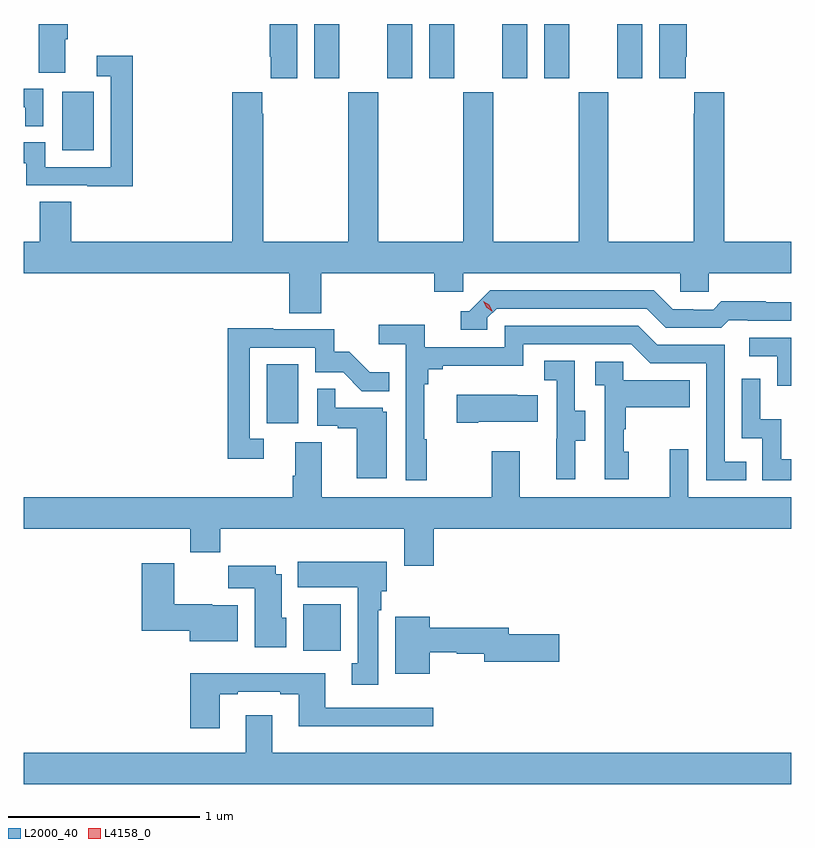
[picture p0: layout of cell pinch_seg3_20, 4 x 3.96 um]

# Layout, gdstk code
import gdstk
lib = gdstk.Library(unit=1e-6, precision=1e-09)
def R(c, l, rs):  # rectangles x0, y0, x1, y1
    for r in rs: c.add(gdstk.rectangle(r[:2], r[2:], *l))
def P(c, l, *ps):  # polygons
    for p in ps: c.add(gdstk.Polygon(p, *l))
L2000_40 = (2000, 40)
L4158_0 = (4158, 0)

pinch_seg3_20 = lib.new_cell('pinch_seg3_20')
R(pinch_seg3_20, L2000_40, [(1117.889,738.908,1118.086,739.15), (1117.7,740.094,1117.864,740.401), (1116.632,741.516,1116.796,741.823), (1117.946,741.891,1118.077,742.175), (1118.327,741.891,1118.458,742.175), (1118.546,741.891,1118.677,742.175), (1118.927,741.891,1119.058,742.175), (1119.146,741.891,1119.277,742.175), (1119.527,741.891,1119.658,742.175)])
P(pinch_seg3_20, L2000_40, [(1116.649,742.096),(1116.662,742.096),(1116.662,742.175),(1116.509,742.175),(1116.509,741.922),(1116.649,741.922)],
  [(1117.858,742.175),(1117.715,742.175),(1117.715,742.003),(1117.721,742.003),(1117.721,741.891),(1117.858,741.891)],
  [(1119.883,742.003),(1119.89,742.003),(1119.89,742.175),(1119.746,742.175),(1119.746,741.891),(1119.883,741.891)],
  [(1117.001,742.009),(1116.813,742.009),(1116.813,741.903),(1116.885,741.903),(1116.885,741.429),(1116.543,741.429),(1116.543,741.558),(1116.433,741.558),(1116.433,741.45),(1116.445,741.45),(1116.445,741.333),(1116.763,741.333),(1116.763,741.328),(1117.001,741.328)],
  [(1116.534,741.837),(1116.433,741.837),(1116.433,741.741),(1116.439,741.741),(1116.439,741.643),(1116.534,741.643)],
  [(1118.573,740.778),(1118.724,740.778),(1118.724,740.876),(1119.855,740.876),(1119.855,740.778),(1120.005,740.778),(1120.005,740.876),(1120.433,740.876),(1120.433,741.04),(1120.085,741.04),(1120.085,741.82),(1119.929,741.82),(1119.929,741.707),(1119.925,741.707),(1119.925,741.04),(1119.48,741.04),(1119.48,741.82),(1119.325,741.82),(1119.325,741.04),(1118.88,741.04),(1118.88,741.82),(1118.725,741.82),(1118.725,741.04),(1118.28,741.04),(1118.28,741.82),(1118.125,741.82),(1118.125,741.04),(1117.68,741.04),(1117.68,741.707),(1117.675,741.707),(1117.675,741.82),(1117.52,741.82),(1117.52,741.04),(1116.68,741.04),(1116.68,741.248),(1116.515,741.248),(1116.515,741.04),(1116.433,741.04),(1116.433,740.876),(1117.817,740.876),(1117.817,740.668),(1117.982,740.668),(1117.982,740.876),(1118.573,740.876)],
  [(1118.85,740.643),(1118.898,740.691),(1119.681,740.691),(1119.78,740.592),(1120.069,740.592),(1120.108,740.631),(1120.207,740.631),(1120.207,740.628),(1120.433,740.628),(1120.433,740.725),(1120.302,740.725),(1120.302,740.728),(1120.069,740.728),(1120.027,740.685),(1119.924,740.685),(1119.924,740.688),(1119.817,740.688),(1119.718,740.787),(1118.865,740.787),(1118.754,740.676),(1118.711,740.676),(1118.711,740.58),(1118.85,740.58)],
  [(1118.533,740.009),(1118.521,740.009),(1118.521,740.297),(1118.54,740.297),(1118.54,740.374),(1118.617,740.374),(1118.617,740.393),(1119.036,740.393),(1119.036,740.505),(1119.6,740.505),(1119.699,740.406),(1119.99,740.406),(1119.99,739.797),(1120.199,739.797),(1120.199,739.893),(1120.086,739.893),(1120.086,740.502),(1119.736,740.502),(1119.637,740.601),(1118.94,740.601),(1118.94,740.49),(1118.522,740.49),(1118.522,740.606),(1118.283,740.606),(1118.283,740.504),(1118.424,740.504),(1118.424,739.797),(1118.533,739.797)],
  [(1117.684,740.013),(1117.611,740.013),(1117.611,740.487),(1117.953,740.487),(1117.953,740.358),(1118.097,740.358),(1118.195,740.26),(1118.339,740.26),(1118.339,740.359),(1118.235,740.359),(1118.128,740.466),(1118.052,740.466),(1118.052,740.583),(1117.733,740.583),(1117.733,740.588),(1117.495,740.588),(1117.495,739.908),(1117.684,739.908)],
  [(1120.433,740.538),(1120.215,740.538),(1120.215,740.442),(1120.362,740.442),(1120.362,740.289),(1120.433,740.289)],
  [(1119.307,740.002),(1119.361,740.002),(1119.361,740.157),(1119.306,740.157),(1119.306,740.42),(1119.147,740.42),(1119.147,740.317),(1119.21,740.317),(1119.21,740.013),(1119.209,740.013),(1119.209,739.8),(1119.307,739.8)],
  [(1119.586,739.944),(1119.561,739.944),(1119.561,740.063),(1119.571,740.063),(1119.571,740.177),(1119.905,740.177),(1119.905,740.317),(1119.558,740.317),(1119.558,740.415),(1119.411,740.415),(1119.411,740.291),(1119.462,740.291),(1119.462,739.8),(1119.586,739.8)],
  [(1120.433,739.906),(1120.382,739.906),(1120.382,740.114),(1120.272,740.114),(1120.272,740.326),(1120.176,740.326),(1120.176,740.016),(1120.284,740.016),(1120.284,739.797),(1120.433,739.797)],
  [(1118.326,740.154),(1118.304,740.154),(1118.304,740.175),(1118.057,740.175),(1118.057,740.273),(1117.962,740.273),(1117.962,740.079),(1118.069,740.079),(1118.069,740.067),(1118.168,740.067),(1118.168,739.806),(1118.326,739.806)],
  [(1118.803,740.102),(1119.113,740.102),(1119.113,740.239),(1119.005,740.239),(1119.005,740.242),(1118.691,740.242),(1118.691,740.095),(1118.803,740.095)],
  [(1118.57,739.544),(1120.433,739.544),(1120.433,739.708),(1119.897,739.708),(1119.897,739.957),(1119.8,739.957),(1119.8,739.708),(1119.019,739.708),(1119.019,739.948),(1118.872,739.948),(1118.872,739.708),(1117.987,739.708),(1117.987,739.994),(1117.847,739.994),(1117.847,739.82),(1117.835,739.82),(1117.835,739.708),(1116.433,739.708),(1116.433,739.544),(1117.301,739.544),(1117.301,739.42),(1117.457,739.42),(1117.457,739.544),(1118.417,739.544),(1118.417,739.35),(1118.57,739.35)],
  [(1118.281,739.118),(1118.296,739.118),(1118.296,739.218),(1118.326,739.218),(1118.326,739.372),(1117.862,739.372),(1117.862,739.238),(1118.174,739.238),(1118.174,738.842),(1118.141,738.842),(1118.141,738.729),(1118.281,738.729)],
  [(1117.549,739.144),(1117.416,739.144),(1117.416,739.15),(1117.216,739.15),(1117.216,739.363),(1117.046,739.363),(1117.046,739.01),(1117.298,739.01),(1117.298,738.956),(1117.549,738.956)],
  [(1117.801,739.08),(1117.777,739.08),(1117.777,739.306),(1117.747,739.306),(1117.747,739.351),(1117.498,739.351),(1117.498,739.232),(1117.637,739.232),(1117.637,738.926),(1117.801,738.926)],
  [(1118.548,738.9),(1118.691,738.9),(1118.691,738.892),(1118.834,738.892),(1118.834,738.85),(1119.223,738.85),(1119.223,738.992),(1118.962,738.992),(1118.962,739.028),(1118.548,739.028),(1118.548,739.084),(1118.369,739.084),(1118.369,738.788),(1118.548,738.788)],
  [(1117.453,738.681),(1117.549,738.681),(1117.549,738.693),(1117.769,738.693),(1117.769,738.681),(1117.865,738.681),(1117.865,738.512),(1118.566,738.512),(1118.566,738.609),(1118.005,738.609),(1118.005,738.79),(1117.301,738.79),(1117.301,738.504),(1117.453,738.504)],
  [(1120.433,738.376),(1117.729,738.376),(1117.729,738.571),(1117.589,738.571),(1117.589,738.376),(1116.433,738.376),(1116.433,738.212),(1120.433,738.212)])
P(pinch_seg3_20, L4158_0, [(1118.873,740.677),(1118.843,740.697),(1118.828,740.73),(1118.828,740.73),(1118.828,740.73),(1118.858,740.71),(1118.874,740.677),(1118.874,740.677)])

lib.write_gds('pinch_seg3_20.gds')
